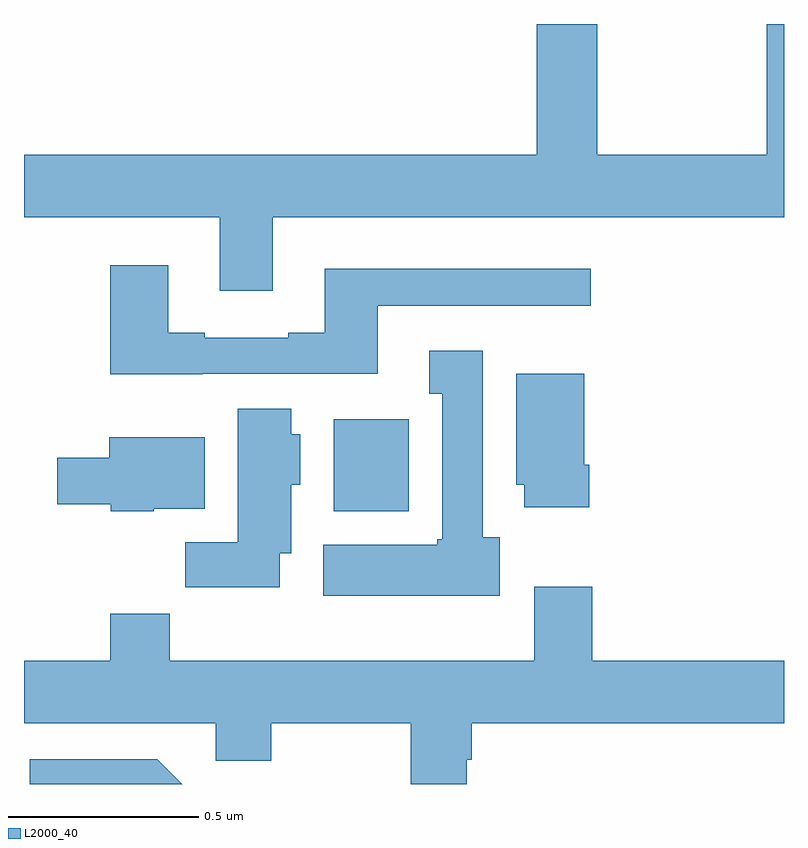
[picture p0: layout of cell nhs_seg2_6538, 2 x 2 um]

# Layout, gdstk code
import gdstk
lib = gdstk.Library(unit=1e-6, precision=1e-09)
def R(c, l, rs):  # rectangles x0, y0, x1, y1
    for r in rs: c.add(gdstk.rectangle(r[:2], r[2:], *l))
def P(c, l, *ps):  # polygons
    for p in ps: c.add(gdstk.Polygon(p, *l))
L2000_40 = (2000, 40)

nhs_seg2_6538 = lib.new_cell('nhs_seg2_6538')
R(nhs_seg2_6538, L2000_40, [(192.815,657.518,193.012,657.76)])
P(nhs_seg2_6538, L2000_40, [(192.655,658.292),(194,658.292),(194,658.8),(193.954,658.8),(193.954,658.456),(193.509,658.456),(193.509,658.8),(193.349,658.8),(193.349,658.456),(192,658.456),(192,658.292),(192.515,658.292),(192.515,658.098),(192.655,658.098)],
  [(192.471,657.879),(192.931,657.879),(192.931,658.059),(193.492,658.059),(193.492,658.156),(192.791,658.156),(192.791,657.988),(192.695,657.988),(192.695,657.975),(192.475,657.975),(192.475,657.988),(192.379,657.988),(192.379,658.165),(192.227,658.165),(192.227,657.878),(192.471,657.878)],
  [(193.252,657.45),(193.207,657.45),(193.207,657.94),(193.067,657.94),(193.067,657.827),(193.1,657.827),(193.1,657.444),(193.087,657.444),(193.087,657.43),(192.788,657.43),(192.788,657.296),(193.252,657.296)],
  [(193.487,657.64),(193.474,657.64),(193.474,657.88),(193.295,657.88),(193.295,657.588),(193.316,657.588),(193.316,657.528),(193.487,657.528)],
  [(192.673,657.407),(192.703,657.407),(192.703,657.588),(192.727,657.588),(192.727,657.72),(192.703,657.72),(192.703,657.787),(192.563,657.787),(192.563,657.436),(192.424,657.436),(192.424,657.318),(192.673,657.318)],
  [(192.342,657.524),(192.475,657.524),(192.475,657.712),(192.224,657.712),(192.224,657.658),(192.087,657.658),(192.087,657.536),(192.228,657.536),(192.228,657.518),(192.342,657.518)],
  [(193.165,656.864),(193.178,656.864),(193.178,656.96),(194,656.96),(194,657.124),(193.496,657.124),(193.496,657.319),(193.343,657.319),(193.343,657.124),(192.383,657.124),(192.383,657.248),(192.227,657.248),(192.227,657.124),(192,657.124),(192,656.96),(192.504,656.96),(192.504,656.861),(192.651,656.861),(192.651,656.96),(193.018,656.96),(193.018,656.8),(193.165,656.8)],
  [(192.351,656.865),(192.015,656.865),(192.015,656.8),(192.416,656.8)])

lib.write_gds('nhs_seg2_6538.gds')
